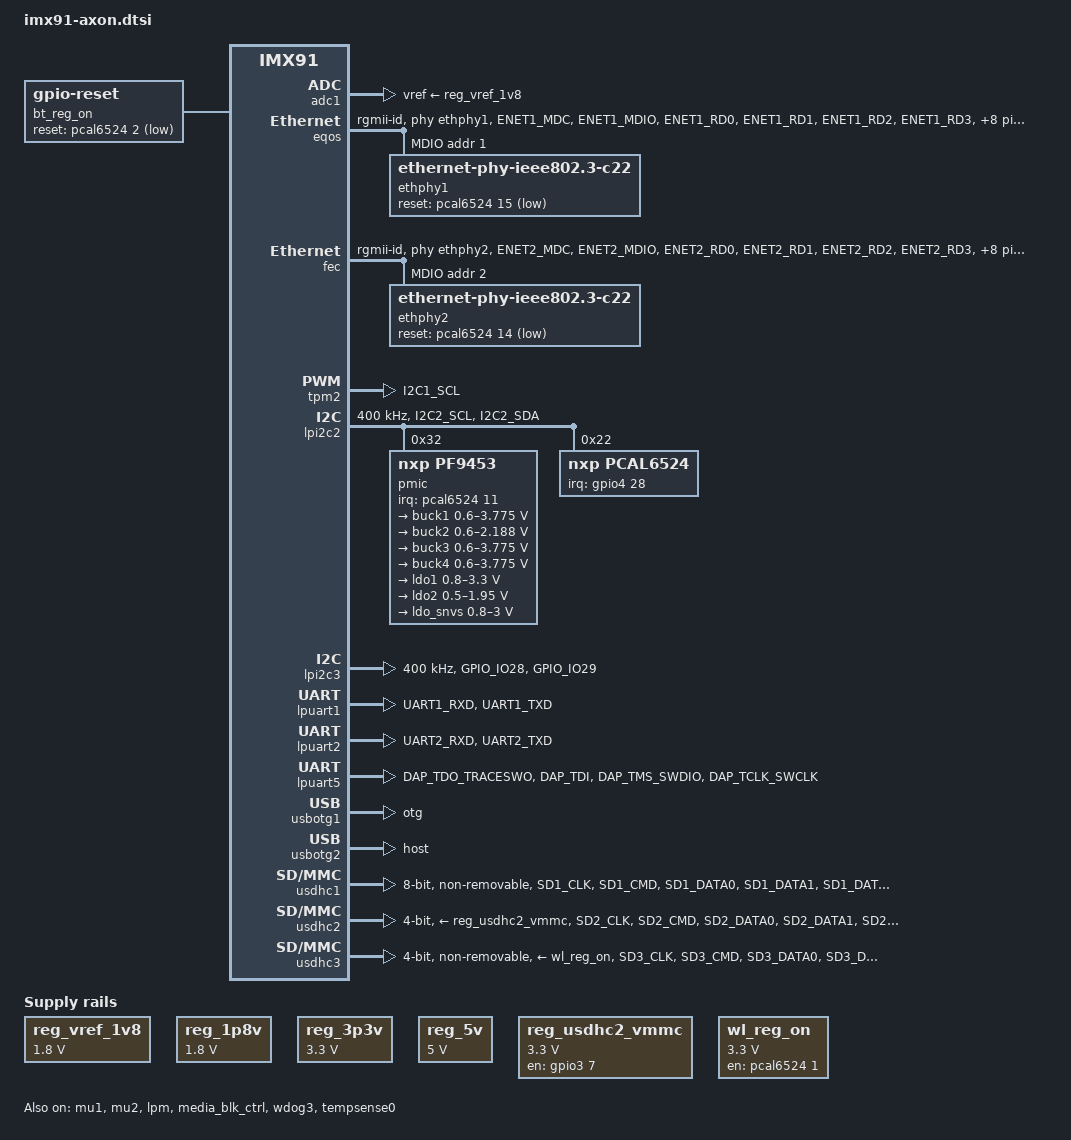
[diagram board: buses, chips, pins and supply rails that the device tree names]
// SPDX-License-Identifier: (GPL-2.0+ OR MIT)
/*
 * Copyright 2024 NXP
 */

/dts-v1/;

#include <dt-bindings/usb/pd.h>
#include "imx91.dtsi"

&ele_fw2 {
	memory-region = <&ele_reserved>;
};

/ {
	reserved-memory {
		#address-cells = <2>;
		#size-cells = <2>;
		ranges;

		linux,cma {
			compatible = "shared-dma-pool";
			reusable;
			alloc-ranges = <0 0x80000000 0 0x40000000>;
			size = <0 0x10000000>;
			linux,cma-default;
		};

		ele_reserved: ele-reserved@a4120000 {
			compatible = "shared-dma-pool";
			reg = <0 0xa4120000 0 0x100000>;
			no-map;
		};
	};

	reg_vref_1v8: regulator-adc-vref {
		compatible = "regulator-fixed";
		regulator-name = "vref_1v8";
		regulator-min-microvolt = <1800000>;
		regulator-max-microvolt = <1800000>;
	};

	reg_1p8v: regulator-1p8v {
		compatible = "regulator-fixed";
		regulator-name = "1P8V";
		regulator-min-microvolt = <1800000>;
		regulator-max-microvolt = <1800000>;
		regulator-always-on;
	};

	reg_3p3v: regulator-3p3v {
		compatible = "regulator-fixed";
		regulator-name = "3P3V";
		regulator-min-microvolt = <3300000>;
		regulator-max-microvolt = <3300000>;
		regulator-always-on;
	};

	reg_5v: regulator-5v {
		compatible = "regulator-fixed";
		regulator-name = "5V";
		regulator-min-microvolt = <5000000>;
		regulator-max-microvolt = <5000000>;
		regulator-always-on;
	};

	reg_usdhc2_vmmc: regulator-usdhc2 {
		compatible = "regulator-fixed";
		pinctrl-names = "default";
		pinctrl-0 = <&pinctrl_reg_usdhc2_vmmc>;
		regulator-name = "VSD_3V3";
		regulator-min-microvolt = <3300000>;
		regulator-max-microvolt = <3300000>;
		gpio = <&gpio3 7 GPIO_ACTIVE_HIGH>;
		off-on-delay-us = <12000>;
		enable-active-high;
	};

	wl_reg_on: wlreg_on {
		compatible = "regulator-fixed";
		regulator-name = "WL_REG_ON";
		regulator-min-microvolt = <3300000>;
		regulator-max-microvolt = <3300000>;
		gpio = <&pcal6524 1 GPIO_ACTIVE_HIGH>;
		off-on-delay = <20000>;
		startup-delay-us = <100>;
		enable-active-high;
	};

	bt_reg_on: btreg_on {
		compatible = "gpio-reset";
		reset-gpios = <&pcal6524 2 GPIO_ACTIVE_LOW>;
		reset-delay-us = <2000>;
		reset-post-delay-ms = <200>;
		#reset-cells = <0>;
	};
};

&sai1 {
	#sound-dai-cells = <0>;
	pinctrl-names = "default", "sleep";
	pinctrl-0 = <&pinctrl_sai1>;
	pinctrl-1 = <&pinctrl_sai1_sleep>;
	assigned-clocks = <&clk IMX91_CLK_SAI1>;
	assigned-clock-parents = <&clk IMX91_CLK_AUDIO_PLL>;
	assigned-clock-rates = <12288000>;
//	fsl,sai-mclk-direction-output;
	status = "disabled";
};

&adc1 {
	vref-supply = <&reg_vref_1v8>;
	status = "okay";
};

&eqos {
	pinctrl-names = "default", "sleep";
	pinctrl-0 = <&pinctrl_eqos>;
	pinctrl-1 = <&pinctrl_eqos_sleep>;
	phy-mode = "rgmii-id";
	phy-handle = <&ethphy1>;
	status = "okay";

	mdio {
		compatible = "snps,dwmac-mdio";
		#address-cells = <1>;
		#size-cells = <0>;
		clock-frequency = <5000000>;

		ethphy1: ethernet-phy@1 {
			/* Atheros AR8035 PHY */
			compatible = "ethernet-phy-ieee802.3-c22";
			reg = <1>;
			reset-gpios = <&pcal6524 15 GPIO_ACTIVE_LOW>;
			reset-assert-us = <35000>;
			reset-deassert-us = <75000>;
			eee-broken-1000t;
			at803x,eee-disabled;
			at803x,vddio-1p8v;
			realtek,aldps-disable;
			realtek,clkout-disable;
		};
	};
};

&fec {
	pinctrl-names = "default", "sleep";
	pinctrl-0 = <&pinctrl_fec>;
	pinctrl-1 = <&pinctrl_fec_sleep>;
	phy-mode = "rgmii-id";
	phy-handle = <&ethphy2>;
	fsl,magic-packet;
	status = "okay";

	mdio {
		#address-cells = <1>;
		#size-cells = <0>;
		clock-frequency = <5000000>;

		ethphy2: ethernet-phy@2 {
			/* Atheros AR8035 PHY */
			compatible = "ethernet-phy-ieee802.3-c22";
			reg = <2>;
			reset-gpios = <&pcal6524 14 GPIO_ACTIVE_LOW>;
			reset-assert-us = <35000>;
			reset-deassert-us = <75000>;
			eee-broken-1000t;
			at803x,eee-disabled;
			at803x,vddio-1p8v;
			realtek,aldps-disable;
			realtek,clkout-disable;
		};
	};
};

&mu1 {
	status = "okay";
};

&mu2 {
	status = "okay";
};

&flexcan1 {
	pinctrl-names = "default";
	pinctrl-0 = <&pinctrl_flexcan1>;
	status = "disabled";
};

&tpm2 {
	pinctrl-names = "default";
	pinctrl-0 = <&pinctrl_tpm_pwm>;
	status = "okay";
};

/*
 * When add, delete or change any target device setting in &lpi2c1,
 * please synchronize the changes to the &i3c1 bus in imx91-11x11-evk-i3c.dts.
 */
&lpi2c1 {
	#address-cells = <1>;
	#size-cells = <0>;
	clock-frequency = <400000>;
	pinctrl-names = "default", "sleep";
	pinctrl-0 = <&pinctrl_lpi2c1>;
	pinctrl-1 = <&pinctrl_lpi2c1>;
	status = "disabled";
};

&lpi2c2 {
	#address-cells = <1>;
	#size-cells = <0>;
	clock-frequency = <400000>;
	pinctrl-names = "default", "sleep";
	pinctrl-0 = <&pinctrl_lpi2c2>;
	pinctrl-1 = <&pinctrl_lpi2c2>;
	status = "okay";

	pmic@32 {
		compatible = "nxp,pf9453";
		reg = <0x32>;
		interrupt-parent = <&pcal6524>;
		interrupts = <11 IRQ_TYPE_EDGE_FALLING>;

		regulators {
			buck1: BUCK1 {
				regulator-name = "BUCK1";
				regulator-min-microvolt = <600000>;
				regulator-max-microvolt = <3775000>;
				regulator-boot-on;
				regulator-always-on;
			};

			buck2: BUCK2 {
				regulator-name = "BUCK2";
				regulator-min-microvolt = <600000>;
				regulator-max-microvolt = <2187500>;
				regulator-boot-on;
				regulator-always-on;
				regulator-ramp-delay = <12500>;
			};

			buck3: BUCK3 {
				regulator-name = "BUCK3";
				regulator-min-microvolt = <600000>;
				regulator-max-microvolt = <3775000>;
				regulator-boot-on;
				regulator-always-on;
			};

			buck4: BUCK4{
				regulator-name = "BUCK4";
				regulator-min-microvolt = <600000>;
				regulator-max-microvolt = <3775000>;
				regulator-boot-on;
				regulator-always-on;
			};

			ldo1: LDO1 {
				regulator-name = "LDO1";
				regulator-min-microvolt = <800000>;
				regulator-max-microvolt = <3300000>;
				regulator-boot-on;
				regulator-always-on;
			};

			ldo2: LDO2 {
				regulator-name = "LDO2";
				regulator-min-microvolt = <500000>;
				regulator-max-microvolt = <1950000>;
				regulator-boot-on;
				regulator-always-on;
			};

			ldo_snvs: LDO_SNVS {
				regulator-name = "LDO_SNVS";
				regulator-min-microvolt = <800000>;
				regulator-max-microvolt = <3000000>;
				regulator-boot-on;
				regulator-always-on;
			};
		};
	};

	pcal6524: gpio@22 {
		compatible = "nxp,pcal6524";
		pinctrl-names = "default";
		pinctrl-0 = <&pinctrl_pcal6524>;
		reg = <0x22>;
		gpio-controller;
		#gpio-cells = <2>;
		interrupt-controller;
		#interrupt-cells = <2>;
		interrupt-parent = <&gpio4>;
		interrupts = <28 IRQ_TYPE_LEVEL_LOW>;
		gpio-line-names = "X1_P39", "WL_REG_ON", "BT_REG_ON", "WL_WAKE_HOST",
				"BT_WAKE_HOST", "LCD_BKLEN", "X4_P7", "ENET1_INTn",

				"X2_P20", "X3_P67", "X2_P22", "PMIC_INTn",
				"X3_P65", "X2_P18", "ENET2_RSTn", "ENET1_RSTn",

				"X1_P66", "X1_P68", "X1_P70", "X1_P72",
				"X1_P74", "X1_P76", "X1_P78", "X1_P80";
	};
};

&lpi2c3 {
	#address-cells = <1>;
	#size-cells = <0>;
	clock-frequency = <400000>;
	pinctrl-names = "default", "sleep";
	pinctrl-0 = <&pinctrl_lpi2c3>;
	pinctrl-1 = <&pinctrl_lpi2c3>;
	status = "okay";
};

&lpuart1 { /* console */
	pinctrl-names = "default";
	pinctrl-0 = <&pinctrl_uart1>;
	status = "okay";
};

&lpuart2 {
	pinctrl-names = "default";
	pinctrl-0 = <&pinctrl_uart2>;
	status = "okay";
};

/* BT */
&lpuart5 {
	pinctrl-names = "default";
	pinctrl-0 = <&pinctrl_uart5>;
	assigned-clocks = <&clk IMX91_CLK_LPUART5>;
	assigned-clock-parents = <&clk IMX91_CLK_24M>;
	fsl,uart-has-rtscts;
	resets = <&bt_reg_on>;
	status = "okay";
};

&lpm {
	soc-supply = <&buck2>;
	status = "okay";
};

&media_blk_ctrl {
	status = "okay";
};

&usbotg1 {
	dr_mode = "otg";
	hnp-disable;
	srp-disable;
	adp-disable;
	usb-role-switch;
	disable-over-current;
	samsung,picophy-pre-emp-curr-control = <3>;
	samsung,picophy-dc-vol-level-adjust = <7>;
};

&usbotg2 {
	dr_mode = "host";
};

&usdhc1 {
	pinctrl-names = "default", "state_100mhz", "state_200mhz";
	pinctrl-0 = <&pinctrl_usdhc1>;
	pinctrl-1 = <&pinctrl_usdhc1_100mhz>;
	pinctrl-2 = <&pinctrl_usdhc1_200mhz>;
	bus-width = <8>;
	non-removable;
	status = "okay";
};

&usdhc2 {
	pinctrl-names = "default", "state_100mhz", "state_200mhz", "sleep";
	pinctrl-0 = <&pinctrl_usdhc2>, <&pinctrl_usdhc2_gpio>;
	pinctrl-1 = <&pinctrl_usdhc2_100mhz>, <&pinctrl_usdhc2_gpio>;
	pinctrl-2 = <&pinctrl_usdhc2_200mhz>, <&pinctrl_usdhc2_gpio>;
	pinctrl-3 = <&pinctrl_usdhc2_sleep>, <&pinctrl_usdhc2_gpio_sleep>;
	cd-gpios = <&gpio3 00 GPIO_ACTIVE_LOW>;
	fsl,cd-gpio-wakeup-disable;
	vmmc-supply = <&reg_usdhc2_vmmc>;
	bus-width = <4>;
	status = "okay";
	no-sdio;
	no-mmc;
};

/* WIFI SDIO */
&usdhc3 {
	pinctrl-names = "default", "state_100mhz", "state_200mhz", "sleep";
	pinctrl-0 = <&pinctrl_usdhc3>;
	pinctrl-1 = <&pinctrl_usdhc3_100mhz>;
	pinctrl-2 = <&pinctrl_usdhc3_200mhz>;
	pinctrl-3 = <&pinctrl_usdhc3_sleep>;
	vmmc-supply = <&wl_reg_on>;
	bus-width = <4>;
	pm-ignore-notify;
	keep-power-in-suspend;
	non-removable;
	status = "okay";
};

&wdog3 {
	status = "okay";
};

&tempsense0 {
	status = "okay";
};

&iomuxc {
	pinctrl_eqos: eqosgrp {
		fsl,pins = <
			MX91_PAD_ENET1_MDC__ENET1_MDC			0x57e
			MX91_PAD_ENET1_MDIO__ENET_QOS_MDIO			0x57e
			MX91_PAD_ENET1_RD0__ENET_QOS_RGMII_RD0			0x57e
			MX91_PAD_ENET1_RD1__ENET_QOS_RGMII_RD1			0x57e
			MX91_PAD_ENET1_RD2__ENET_QOS_RGMII_RD2			0x57e
			MX91_PAD_ENET1_RD3__ENET_QOS_RGMII_RD3			0x57e
			MX91_PAD_ENET1_RXC__ENET_QOS_RGMII_RXC	0x5fe
			MX91_PAD_ENET1_RX_CTL__ENET_QOS_RGMII_RX_CTL		0x57e
			MX91_PAD_ENET1_TD0__ENET_QOS_RGMII_TD0			0x57e
			MX91_PAD_ENET1_TD1__ENET1_RGMII_TD1			0x57e
			MX91_PAD_ENET1_TD2__ENET_QOS_RGMII_TD2			0x57e
			MX91_PAD_ENET1_TD3__ENET_QOS_RGMII_TD3			0x57e
			MX91_PAD_ENET1_TXC__CCM_ENET_QOS_CLOCK_GENERATE_TX_CLK	0x5fe
			MX91_PAD_ENET1_TX_CTL__ENET_QOS_RGMII_TX_CTL		0x57e
		>;
	};

	pinctrl_eqos_sleep: eqosgrpsleep {
		fsl,pins = <
			MX91_PAD_ENET1_MDC__GPIO4_IO0				0x31e
			MX91_PAD_ENET1_MDIO__GPIO4_IO1				0x31e
			MX91_PAD_ENET1_RD0__GPIO4_IO10                          0x31e
			MX91_PAD_ENET1_RD1__GPIO4_IO11				0x31e
			MX91_PAD_ENET1_RD2__GPIO4_IO12				0x31e
			MX91_PAD_ENET1_RD3__GPIO4_IO13				0x31e
			MX91_PAD_ENET1_RXC__GPIO4_IO9                          0x31e
			MX91_PAD_ENET1_RX_CTL__GPIO4_IO8			0x31e
			MX91_PAD_ENET1_TD0__GPIO4_IO5                          0x31e
			MX91_PAD_ENET1_TD1__GPIO4_IO4                          0x31e
			MX91_PAD_ENET1_TD2__GPIO4_IO3				0x31e
			MX91_PAD_ENET1_TD3__GPIO4_IO3				0x31e
			MX91_PAD_ENET1_TXC__GPIO4_IO7                          0x31e
			MX91_PAD_ENET1_TX_CTL__GPIO4_IO6                       0x31e
		>;
	};

	pinctrl_fec: fecgrp {
		fsl,pins = <
			MX91_PAD_ENET2_MDC__ENET2_MDC			0x57e
			MX91_PAD_ENET2_MDIO__ENET2_MDIO			0x57e
			MX91_PAD_ENET2_RD0__ENET2_RGMII_RD0		0x57e
			MX91_PAD_ENET2_RD1__ENET2_RGMII_RD1		0x57e
			MX91_PAD_ENET2_RD2__ENET2_RGMII_RD2		0x57e
			MX91_PAD_ENET2_RD3__ENET2_RGMII_RD3		0x57e
			MX91_PAD_ENET2_RXC__ENET2_RGMII_RXC		0x5fe
			MX91_PAD_ENET2_RX_CTL__ENET2_RGMII_RX_CTL	0x57e
			MX91_PAD_ENET2_TD0__ENET2_RGMII_TD0		0x57e
			MX91_PAD_ENET2_TD1__ENET2_RGMII_TD1		0x57e
			MX91_PAD_ENET2_TD2__ENET2_RGMII_TD2		0x57e
			MX91_PAD_ENET2_TD3__ENET2_RGMII_TD3		0x57e
			MX91_PAD_ENET2_TXC__ENET2_RGMII_TXC		0x5fe
			MX91_PAD_ENET2_TX_CTL__ENET2_RGMII_TX_CTL	0x57e
		>;
	};

	pinctrl_fec_sleep: fecsleepgrp {
		fsl,pins = <
			MX91_PAD_ENET2_MDC__GPIO4_IO14			0x51e
			MX91_PAD_ENET2_MDIO__GPIO4_IO15			0x51e
			MX91_PAD_ENET2_RD0__GPIO4_IO24			0x51e
			MX91_PAD_ENET2_RD1__GPIO4_IO25			0x51e
			MX91_PAD_ENET2_RD2__GPIO4_IO26			0x51e
			MX91_PAD_ENET2_RD3__GPIO4_IO27			0x51e
			MX91_PAD_ENET2_RXC__GPIO4_IO23                  0x51e
			MX91_PAD_ENET2_RX_CTL__GPIO4_IO22		0x51e
			MX91_PAD_ENET2_TD0__GPIO4_IO19			0x51e
			MX91_PAD_ENET2_TD1__GPIO4_IO18			0x51e
			MX91_PAD_ENET2_TD2__GPIO4_IO17			0x51e
			MX91_PAD_ENET2_TD3__GPIO4_IO16			0x51e
			MX91_PAD_ENET2_TXC__GPIO4_IO21                  0x51e
			MX91_PAD_ENET2_TX_CTL__GPIO4_IO20               0x51e
		>;
	};

	pinctrl_lcdif: lcdifgrp {
		fsl,pins = <
			MX91_PAD_GPIO_IO00__MEDIAMIX_DISP_CLK		0x31e
			MX91_PAD_GPIO_IO01__MEDIAMIX_DISP_DE		0x31e
			MX91_PAD_GPIO_IO02__MEDIAMIX_DISP_VSYNC		0x31e
			MX91_PAD_GPIO_IO03__MEDIAMIX_DISP_HSYNC		0x31e
			MX91_PAD_GPIO_IO04__MEDIAMIX_DISP_DATA0		0x31e
			MX91_PAD_GPIO_IO05__MEDIAMIX_DISP_DATA1		0x31e
			MX91_PAD_GPIO_IO06__MEDIAMIX_DISP_DATA2		0x31e
			MX91_PAD_GPIO_IO07__MEDIAMIX_DISP_DATA3		0x31e
			MX91_PAD_GPIO_IO08__MEDIAMIX_DISP_DATA4		0x31e
			MX91_PAD_GPIO_IO09__MEDIAMIX_DISP_DATA5		0x31e
			MX91_PAD_GPIO_IO10__MEDIAMIX_DISP_DATA6		0x31e
			MX91_PAD_GPIO_IO11__MEDIAMIX_DISP_DATA7		0x31e
			MX91_PAD_GPIO_IO12__MEDIAMIX_DISP_DATA8		0x31e
			MX91_PAD_GPIO_IO13__MEDIAMIX_DISP_DATA9		0x31e
			MX91_PAD_GPIO_IO14__MEDIAMIX_DISP_DATA10	0x31e
			MX91_PAD_GPIO_IO15__MEDIAMIX_DISP_DATA11	0x31e
			MX91_PAD_GPIO_IO16__MEDIAMIX_DISP_DATA12	0x31e
			MX91_PAD_GPIO_IO17__MEDIAMIX_DISP_DATA13	0x31e
			MX91_PAD_GPIO_IO18__MEDIAMIX_DISP_DATA14	0x31e
			MX91_PAD_GPIO_IO19__MEDIAMIX_DISP_DATA15	0x31e
			MX91_PAD_GPIO_IO20__MEDIAMIX_DISP_DATA16	0x31e
			MX91_PAD_GPIO_IO21__MEDIAMIX_DISP_DATA17	0x31e
			MX91_PAD_GPIO_IO22__MEDIAMIX_DISP_DATA18	0x31e
			MX91_PAD_GPIO_IO23__MEDIAMIX_DISP_DATA19	0x31e
			MX91_PAD_GPIO_IO24__MEDIAMIX_DISP_DATA20	0x31e
			MX91_PAD_GPIO_IO25__MEDIAMIX_DISP_DATA21	0x31e
			MX91_PAD_GPIO_IO26__MEDIAMIX_DISP_DATA22	0x31e
			MX91_PAD_GPIO_IO27__MEDIAMIX_DISP_DATA23	0x31e
		>;
	};

	pinctrl_lcdif_gpio: lcdifgpiogrp {
		fsl,pins = <
			MX91_PAD_GPIO_IO00__GPIO2_IO0			0x51e
			MX91_PAD_GPIO_IO01__GPIO2_IO1			0x51e
			MX91_PAD_GPIO_IO02__GPIO2_IO2			0x51e
			MX91_PAD_GPIO_IO03__GPIO2_IO3			0x51e
		>;
	};

	pinctrl_lpi2c1: lpi2c1grp {
		fsl,pins = <
			MX91_PAD_I2C1_SCL__LPI2C1_SCL			0x40000b9e
			MX91_PAD_I2C1_SDA__LPI2C1_SDA			0x40000b9e
		>;
	};

	pinctrl_lpi2c2: lpi2c2grp {
		fsl,pins = <
			MX91_PAD_I2C2_SCL__LPI2C2_SCL			0x40000b9e
			MX91_PAD_I2C2_SDA__LPI2C2_SDA			0x40000b9e
		>;
	};

	pinctrl_lpi2c3: lpi2c3grp {
		fsl,pins = <
			MX91_PAD_GPIO_IO28__LPI2C3_SDA			0x40000b9e
			MX91_PAD_GPIO_IO29__LPI2C3_SCL			0x40000b9e
		>;
	};

	pinctrl_pcal6524: pcal6524grp {
		fsl,pins = <
			MX91_PAD_CCM_CLKO3__GPIO4_IO28			0x31e
		>;
	};

	pinctrl_uart1: uart1grp {
		fsl,pins = <
			MX91_PAD_UART1_RXD__LPUART1_RX			0x31e
			MX91_PAD_UART1_TXD__LPUART1_TX			0x31e
		>;
	};

	pinctrl_uart2: uart2grp {
		fsl,pins = <
			MX91_PAD_UART2_RXD__LPUART2_RX			0x31e
			MX91_PAD_UART2_TXD__LPUART2_TX			0x31e
		>;
	};

	pinctrl_uart5: uart5grp {
		fsl,pins = <
			MX91_PAD_DAP_TDO_TRACESWO__LPUART5_TX	0x31e
			MX91_PAD_DAP_TDI__LPUART5_RX		0x31e
			MX91_PAD_DAP_TMS_SWDIO__LPUART5_RTS_B	0x31e
			MX91_PAD_DAP_TCLK_SWCLK__LPUART5_CTS_B	0x31e
		>;
	};

	pinctrl_usdhc1: usdhc1grp {
		fsl,pins = <
			MX91_PAD_SD1_CLK__USDHC1_CLK		0x1582
			MX91_PAD_SD1_CMD__USDHC1_CMD		0x1382
			MX91_PAD_SD1_DATA0__USDHC1_DATA0	0x1382
			MX91_PAD_SD1_DATA1__USDHC1_DATA1	0x1382
			MX91_PAD_SD1_DATA2__USDHC1_DATA2	0x1382
			MX91_PAD_SD1_DATA3__USDHC1_DATA3	0x1382
			MX91_PAD_SD1_DATA4__USDHC1_DATA4	0x1382
			MX91_PAD_SD1_DATA5__USDHC1_DATA5	0x1382
			MX91_PAD_SD1_DATA6__USDHC1_DATA6	0x1382
			MX91_PAD_SD1_DATA7__USDHC1_DATA7	0x1382
			MX91_PAD_SD1_STROBE__USDHC1_STROBE	0x1582
		>;
	};

	pinctrl_usdhc1_100mhz: usdhc1-100mhzgrp {
		fsl,pins = <
			MX91_PAD_SD1_CLK__USDHC1_CLK		0x158e
			MX91_PAD_SD1_CMD__USDHC1_CMD		0x138e
			MX91_PAD_SD1_DATA0__USDHC1_DATA0	0x138e
			MX91_PAD_SD1_DATA1__USDHC1_DATA1	0x138e
			MX91_PAD_SD1_DATA2__USDHC1_DATA2	0x138e
			MX91_PAD_SD1_DATA3__USDHC1_DATA3	0x138e
			MX91_PAD_SD1_DATA4__USDHC1_DATA4	0x138e
			MX91_PAD_SD1_DATA5__USDHC1_DATA5	0x138e
			MX91_PAD_SD1_DATA6__USDHC1_DATA6	0x138e
			MX91_PAD_SD1_DATA7__USDHC1_DATA7	0x138e
			MX91_PAD_SD1_STROBE__USDHC1_STROBE	0x158e
		>;
	};

	pinctrl_usdhc1_200mhz: usdhc1-200mhzgrp {
		fsl,pins = <
			MX91_PAD_SD1_CLK__USDHC1_CLK		0x15fe
			MX91_PAD_SD1_CMD__USDHC1_CMD		0x13fe
			MX91_PAD_SD1_DATA0__USDHC1_DATA0	0x13fe
			MX91_PAD_SD1_DATA1__USDHC1_DATA1	0x13fe
			MX91_PAD_SD1_DATA2__USDHC1_DATA2	0x13fe
			MX91_PAD_SD1_DATA3__USDHC1_DATA3	0x13fe
			MX91_PAD_SD1_DATA4__USDHC1_DATA4	0x13fe
			MX91_PAD_SD1_DATA5__USDHC1_DATA5	0x13fe
			MX91_PAD_SD1_DATA6__USDHC1_DATA6	0x13fe
			MX91_PAD_SD1_DATA7__USDHC1_DATA7	0x13fe
			MX91_PAD_SD1_STROBE__USDHC1_STROBE	0x15fe
		>;
	};

	pinctrl_reg_usdhc2_vmmc: regusdhc2vmmcgrp {
		fsl,pins = <
			MX91_PAD_SD2_RESET_B__GPIO3_IO7	0x31e
		>;
	};

	pinctrl_usdhc2_gpio: usdhc2gpiogrp {
		fsl,pins = <
			MX91_PAD_SD2_CD_B__GPIO3_IO0		0x31e
		>;
	};

	pinctrl_usdhc2_gpio_sleep: usdhc2gpiogrpsleep {
		fsl,pins = <
			MX91_PAD_SD2_CD_B__GPIO3_IO0		0x51e
		>;
	};

	pinctrl_usdhc2: usdhc2grp {
		fsl,pins = <
			MX91_PAD_SD2_CLK__USDHC2_CLK		0x1582
			MX91_PAD_SD2_CMD__USDHC2_CMD		0x1382
			MX91_PAD_SD2_DATA0__USDHC2_DATA0	0x1382
			MX91_PAD_SD2_DATA1__USDHC2_DATA1	0x1382
			MX91_PAD_SD2_DATA2__USDHC2_DATA2	0x1382
			MX91_PAD_SD2_DATA3__USDHC2_DATA3	0x1382
			MX91_PAD_SD2_VSELECT__USDHC2_VSELECT	0x51e
		>;
	};

	pinctrl_usdhc2_100mhz: usdhc2-100mhzgrp {
		fsl,pins = <
			MX91_PAD_SD2_CLK__USDHC2_CLK		0x158e
			MX91_PAD_SD2_CMD__USDHC2_CMD		0x138e
			MX91_PAD_SD2_DATA0__USDHC2_DATA0	0x138e
			MX91_PAD_SD2_DATA1__USDHC2_DATA1	0x138e
			MX91_PAD_SD2_DATA2__USDHC2_DATA2	0x138e
			MX91_PAD_SD2_DATA3__USDHC2_DATA3	0x138e
			MX91_PAD_SD2_VSELECT__USDHC2_VSELECT	0x51e
		>;
	};

	pinctrl_usdhc2_200mhz: usdhc2-200mhzgrp {
		fsl,pins = <
			MX91_PAD_SD2_CLK__USDHC2_CLK		0x15fe
			MX91_PAD_SD2_CMD__USDHC2_CMD		0x13fe
			MX91_PAD_SD2_DATA0__USDHC2_DATA0	0x13fe
			MX91_PAD_SD2_DATA1__USDHC2_DATA1	0x13fe
			MX91_PAD_SD2_DATA2__USDHC2_DATA2	0x13fe
			MX91_PAD_SD2_DATA3__USDHC2_DATA3	0x13fe
			MX91_PAD_SD2_VSELECT__USDHC2_VSELECT	0x51e
		>;
	};

	pinctrl_usdhc2_sleep: usdhc2grpsleep {
		fsl,pins = <
			MX91_PAD_SD2_CLK__GPIO3_IO1            0x51e
			MX91_PAD_SD2_CMD__GPIO3_IO2		0x51e
			MX91_PAD_SD2_DATA0__GPIO3_IO3		0x51e
			MX91_PAD_SD2_DATA1__GPIO3_IO4		0x51e
			MX91_PAD_SD2_DATA2__GPIO3_IO5		0x51e
			MX91_PAD_SD2_DATA3__GPIO3_IO6		0x51e
			MX91_PAD_SD2_VSELECT__GPIO3_IO19	0x51e
		>;
	};

	pinctrl_usdhc3: usdhc3grp {
		fsl,pins = <
			MX91_PAD_SD3_CLK__USDHC3_CLK		0x1582
			MX91_PAD_SD3_CMD__USDHC3_CMD		0x1382
			MX91_PAD_SD3_DATA0__USDHC3_DATA0	0x1382
			MX91_PAD_SD3_DATA1__USDHC3_DATA1	0x1382
			MX91_PAD_SD3_DATA2__USDHC3_DATA2	0x1382
			MX91_PAD_SD3_DATA3__USDHC3_DATA3	0x1382
		>;
	};

	pinctrl_usdhc3_100mhz: usdhc3-100mhzgrp {
		fsl,pins = <
			MX91_PAD_SD3_CLK__USDHC3_CLK		0x158e
			MX91_PAD_SD3_CMD__USDHC3_CMD		0x138e
			MX91_PAD_SD3_DATA0__USDHC3_DATA0	0x138e
			MX91_PAD_SD3_DATA1__USDHC3_DATA1	0x138e
			MX91_PAD_SD3_DATA2__USDHC3_DATA2	0x138e
			MX91_PAD_SD3_DATA3__USDHC3_DATA3	0x138e
		>;
	};

	pinctrl_usdhc3_200mhz: usdhc3-200mhzgrp {
		fsl,pins = <
			MX91_PAD_SD3_CLK__USDHC3_CLK		0x15fe
			MX91_PAD_SD3_CMD__USDHC3_CMD		0x13fe
			MX91_PAD_SD3_DATA0__USDHC3_DATA0	0x13fe
			MX91_PAD_SD3_DATA1__USDHC3_DATA1	0x13fe
			MX91_PAD_SD3_DATA2__USDHC3_DATA2	0x13fe
			MX91_PAD_SD3_DATA3__USDHC3_DATA3	0x13fe
		>;
	};

	pinctrl_usdhc3_sleep: usdhc3grpsleep {
		fsl,pins = <
			MX91_PAD_SD3_CLK__GPIO3_IO20		0x31e
			MX91_PAD_SD3_CMD__GPIO3_IO21		0x31e
			MX91_PAD_SD3_DATA0__GPIO3_IO22		0x31e
			MX91_PAD_SD3_DATA1__GPIO3_IO23		0x31e
			MX91_PAD_SD3_DATA2__GPIO3_IO24		0x31e
			MX91_PAD_SD3_DATA3__GPIO3_IO25		0x31e
		>;
	};

	pinctrl_sai1: sai1grp {
		fsl,pins = <
			MX91_PAD_SAI1_TXC__SAI1_TX_BCLK			0x31e
			MX91_PAD_SAI1_TXFS__SAI1_TX_SYNC		0x31e
			MX91_PAD_SAI1_TXD0__SAI1_TX_DATA0		0x31e
			MX91_PAD_SAI1_RXD0__SAI1_RX_DATA0		0x31e
		>;
	};

	pinctrl_sai1_sleep: sai1grpsleep {
		fsl,pins = <
			MX91_PAD_SAI1_TXC__GPIO1_IO12                   0x51e
			MX91_PAD_SAI1_TXFS__GPIO1_IO11			0x51e
			MX91_PAD_SAI1_TXD0__GPIO1_IO13			0x51e
			MX91_PAD_SAI1_RXD0__GPIO1_IO14			0x51e
		>;
	};

	pinctrl_flexcan1: flexcan1grp {
		fsl,pins = <
			MX91_PAD_PDM_CLK__CAN1_TX			0x139e
			MX91_PAD_PDM_BIT_STREAM0__CAN1_RX		0x139e
		>;
	};

	pinctrl_tpm_pwm: tpmpwmgrp {
		fsl,pins = <
			MX91_PAD_I2C1_SCL__TPM2_CH0		0x31e
		>;
	};

	pinctrl_touch_irq: touchirqgrp {
		fsl,pins = <
			MX91_PAD_CCM_CLKO1__GPIO3_IO26		0x31e
		>;
	};
};
